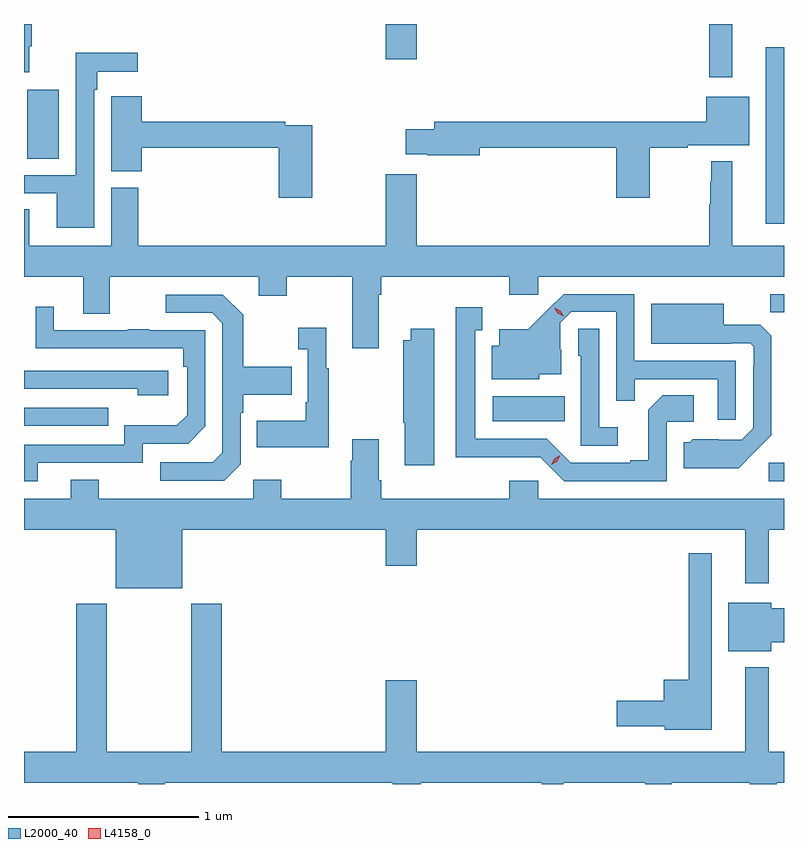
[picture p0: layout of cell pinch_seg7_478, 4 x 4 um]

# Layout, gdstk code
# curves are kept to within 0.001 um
import gdstk
lib = gdstk.Library(unit=1e-6, precision=1e-09)
def R(c, l, rs):  # rectangles x0, y0, x1, y1
    for r in rs: c.add(gdstk.rectangle(r[:2], r[2:], *l))
def P(c, l, *ps):  # polygons
    for p in ps: c.add(gdstk.Polygon(p, *l))
L2000_40 = (2000, 40)
L4158_0 = (4158, 0)

pinch_seg7_478 = lib.new_cell('pinch_seg7_478')
R(pinch_seg7_478, L2000_40, [(214.977,1070.136,215.056,1070.232), (211.056,1070.427,211.499,1070.523), (213.522,1070.45,213.902,1070.584), (214.984,1071.025,215.056,1071.12), (214.961,1071.491,215.056,1072.42), (211.073,1071.832,211.24,1072.195), (214.662,1072.263,214.783,1072.542), (212.96,1072.356,213.124,1072.542)])
P(pinch_seg7_478, L2000_40, [(211.084,1072.424),(211.097,1072.424),(211.097,1072.542),(211.056,1072.542),(211.056,1072.287),(211.084,1072.287)],
  [(211.425,1072.196),(211.441,1072.196),(211.441,1072.292),(211.654,1072.292),(211.654,1072.39),(211.329,1072.39),(211.329,1071.747),(211.056,1071.747),(211.056,1071.651),(211.229,1071.651),(211.229,1071.47),(211.425,1071.47)],
  [(212.574,1072.008),(212.432,1072.008),(212.432,1072.028),(211.676,1072.028),(211.676,1072.162),(211.515,1072.162),(211.515,1072.049),(211.514,1072.049),(211.514,1071.766),(211.676,1071.766),(211.676,1071.892),(212.396,1071.892),(212.396,1071.627),(212.574,1071.627)],
  [(214.35,1071.892),(214.55,1071.892),(214.55,1071.905),(214.873,1071.905),(214.873,1072.159),(214.646,1072.159),(214.646,1072.028),(213.215,1072.028),(213.215,1071.987),(213.066,1071.987),(213.066,1071.857),(213.178,1071.857),(213.178,1071.85),(213.454,1071.85),(213.454,1071.892),(214.172,1071.892),(214.172,1071.627),(214.35,1071.627)],
  [(212.923,1071.116),(212.936,1071.116),(212.936,1071.212),(213.611,1071.212),(213.611,1071.117),(213.762,1071.117),(213.762,1071.212),(215.056,1071.212),(215.056,1071.376),(214.783,1071.376),(214.783,1071.82),(214.672,1071.82),(214.672,1071.713),(214.669,1071.713),(214.669,1071.593),(214.662,1071.593),(214.662,1071.376),(213.124,1071.376),(213.124,1071.751),(212.96,1071.751),(212.96,1071.376),(211.658,1071.376),(211.658,1071.681),(211.514,1071.681),(211.514,1071.376),(211.084,1071.376),(211.084,1071.566),(211.056,1071.566),(211.056,1071.212),(211.367,1071.212),(211.367,1071.018),(211.507,1071.018),(211.507,1071.212),(212.291,1071.212),(212.291,1071.113),(212.439,1071.113),(212.439,1071.212),(212.783,1071.212),(212.783,1070.835),(212.923,1070.835)],
  [(214.803,1070.769),(214.269,1070.769),(214.269,1071.12),(213.896,1071.12),(213.709,1070.935),(213.557,1070.935),(213.557,1070.848),(213.518,1070.848),(213.518,1070.672),(213.768,1070.672),(213.768,1070.699),(213.883,1070.699),(213.883,1070.828),(213.879,1070.828),(213.879,1070.97),(213.936,1071.027),(214.173,1071.027),(214.173,1070.56),(214.271,1070.56),(214.271,1070.673),(214.707,1070.673),(214.707,1070.46),(214.803,1070.46)],
  [(212.196,1070.226),(212.196,1070.495),(212.209,1070.495),(212.209,1070.591),(212.465,1070.591),(212.465,1070.739),(212.209,1070.739),(212.209,1071.011),(212.103,1071.117),(211.803,1071.117),(211.803,1071.021),(212.046,1071.021),(212.1,1070.967),(212.1,1070.286),(212.049,1070.235),(211.773,1070.235),(211.773,1070.139),(212.109,1070.139)],
  [(214.897,1070.285),(214.989,1070.378),(214.989,1070.9),(214.93,1070.959),(214.738,1070.959),(214.738,1071.07),(214.358,1071.07),(214.358,1070.858),(214.778,1070.858),(214.778,1070.862),(214.878,1070.862),(214.896,1070.844),(214.896,1070.744),(214.893,1070.744),(214.893,1070.415),(214.833,1070.355),(214.576,1070.356),(214.56,1070.34),(214.529,1070.34),(214.529,1070.204),(214.817,1070.204)],
  [(211.129,1070.232),(211.68,1070.232),(211.68,1070.334),(211.92,1070.334),(212.01,1070.424),(212.01,1070.931),(211.715,1070.931),(211.715,1070.936),(211.603,1070.936),(211.603,1070.931),(211.213,1070.931),(211.213,1071.055),(211.117,1071.055),(211.117,1070.836),(211.894,1070.835),(211.894,1070.738),(211.914,1070.738),(211.914,1070.484),(211.861,1070.431),(211.584,1070.431),(211.584,1070.328),(211.056,1070.328),(211.056,1070.136),(211.129,1070.136)],
  [(214.44,1070.448),(214.582,1070.448),(214.582,1070.588),(214.417,1070.588),(214.341,1070.512),(214.341,1070.245),(214.247,1070.245),(214.247,1070.232),(213.933,1070.232),(213.807,1070.358),(213.43,1070.358),(213.43,1070.931),(213.469,1070.931),(213.469,1071.052),(213.329,1071.052),(213.329,1070.261),(213.774,1070.262),(213.9,1070.136),(214.44,1070.136)],
  [(212.659,1070.731),(212.647,1070.731),(212.647,1070.944),(212.499,1070.944),(212.499,1070.831),(212.55,1070.831),(212.55,1070.551),(212.538,1070.551),(212.538,1070.455),(212.281,1070.455),(212.281,1070.315),(212.659,1070.315)],
  [(214.18,1070.419),(214.083,1070.419),(214.083,1070.939),(213.972,1070.939),(213.972,1070.796),(213.987,1070.796),(213.987,1070.322),(214.18,1070.322)],
  [(213.214,1070.938),(213.092,1070.938),(213.092,1070.878),(213.052,1070.878),(213.052,1070.443),(213.059,1070.443),(213.059,1070.22),(213.214,1070.22)],
  [(211.816,1070.718),(211.056,1070.718),(211.056,1070.622),(211.655,1070.622),(211.655,1070.588),(211.816,1070.588)],
  [(213.762,1070.137),(213.611,1070.137),(213.611,1070.044),(212.936,1070.044),(212.936,1070.14),(212.923,1070.14),(212.923,1070.356),(212.783,1070.356),(212.783,1070.243),(212.776,1070.243),(212.776,1070.044),(212.409,1070.044),(212.409,1070.143),(212.262,1070.143),(212.262,1070.044),(211.449,1070.044),(211.449,1070.143),(211.301,1070.143),(211.301,1070.044),(211.056,1070.044),(211.056,1069.88),(211.538,1069.88),(211.538,1069.571),(211.888,1069.571),(211.888,1069.88),(212.96,1069.88),(212.96,1069.692),(213.124,1069.692),(213.124,1069.88),(214.853,1069.88),(214.853,1069.599),(214.975,1069.599),(214.975,1069.88),(215.056,1069.88),(215.056,1070.044),(213.762,1070.044)],
  [(214.675,1069.756),(214.554,1069.756),(214.554,1069.09),(214.424,1069.09),(214.424,1068.98),(214.176,1068.98),(214.176,1068.845),(214.428,1068.845),(214.428,1068.827),(214.675,1068.827)],
  [(214.99,1069.289),(215.056,1069.289),(215.056,1069.467),(214.99,1069.467),(214.99,1069.495),(214.763,1069.495),(214.763,1069.241),(214.99,1069.241)],
  [(211.797,1068.548),(212.998,1068.548),(212.998,1068.542),(213.145,1068.542),(213.145,1068.548),(213.781,1068.548),(213.781,1068.542),(213.895,1068.542),(213.895,1068.548),(214.325,1068.548),(214.325,1068.542),(214.465,1068.542),(214.465,1068.548),(214.877,1068.548),(214.877,1068.542),(215.017,1068.542),(215.017,1068.548),(215.056,1068.548),(215.056,1068.712),(214.975,1068.712),(214.975,1069.156),(214.853,1069.156),(214.853,1068.712),(213.124,1068.712),(213.124,1069.087),(212.96,1069.087),(212.96,1068.712),(212.096,1068.712),(212.096,1069.492),(211.936,1069.492),(211.936,1068.712),(211.491,1068.712),(211.491,1069.492),(211.331,1069.492),(211.331,1068.712),(211.056,1068.712),(211.056,1068.548),(211.658,1068.548),(211.658,1068.542),(211.797,1068.542)])
P(pinch_seg7_478, L4158_0, [(213.896,1071.004),(213.865,1071.019),(213.847,1071.048),(213.847,1071.048),(213.848,1071.048),(213.879,1071.033),(213.896,1071.004),(213.896,1071.004)],
  [(213.83,1070.221),(213.83,1070.222),(213.847,1070.254),(213.879,1070.272),(213.879,1070.272),(213.879,1070.272),(213.862,1070.24),(213.83,1070.221)])

lib.write_gds('pinch_seg7_478.gds')
